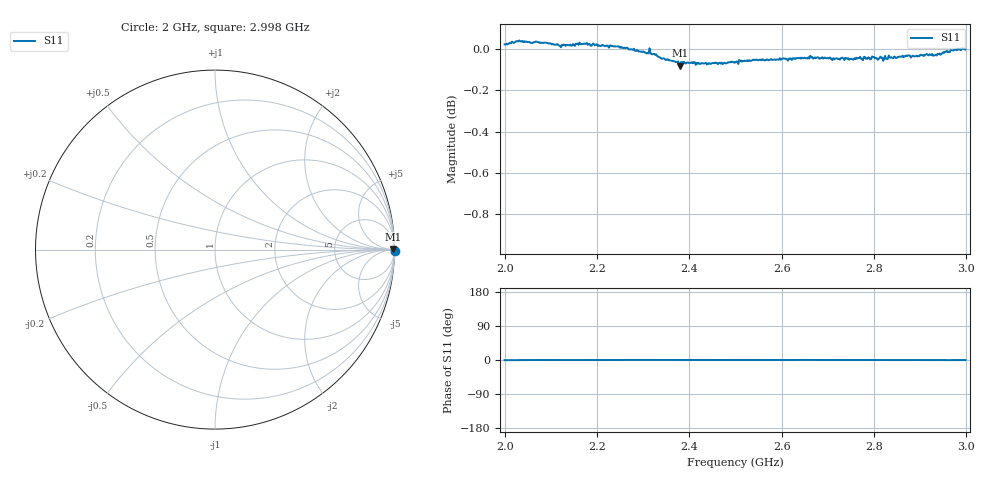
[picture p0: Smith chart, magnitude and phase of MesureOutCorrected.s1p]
!Created with skrf (http://scikit-rf.org).
# MHz S RI R 50.0
!freq ReS11 ImS11
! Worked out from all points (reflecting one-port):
!   500 points, 2 GHz to 2.998 GHz, reference 50 ohm
!   lowest |S11| = -0.1 dB at 2.38 GHz (marker M1), VSWR 216.47, Z = 9.98e+03 + j2.9e+03 ohm
!   phase of S11 starts at -0 deg and turns +0 deg over the sweep
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2000  1.003 -0.00702
2028  1.004 -0.00423
2058  1.004 -0.000733
2086  1.004 -3.25e-05
2126  1.002 -0.000842
2140  1.002 -0.00137
2174  1.003 -0.000971
2206  1.002 -0.00181
2250  1.001 0.00153
2298  0.9984 0.00291
2316  0.9978 0.00411
2352  0.9944 0.00482
2376  0.9933 0.00362
2380  0.9908 0.00266
2418  0.992 0.00276
2454  0.9923 -0.000166
2500  0.9929 -0.000947
2624  0.995 0.00121
2678  0.9956 0.00262
2750  0.9947 0.000734
2766  0.9951 -0.000361
2810  0.9947 -0.00117
2874  0.9966 -0.0022
2886  0.9961 -0.00112
2932  0.9966 -0.00305
2950  0.9984 -0.00376
2970  0.9994 -0.0039
2998  0.9998 -0.00395
